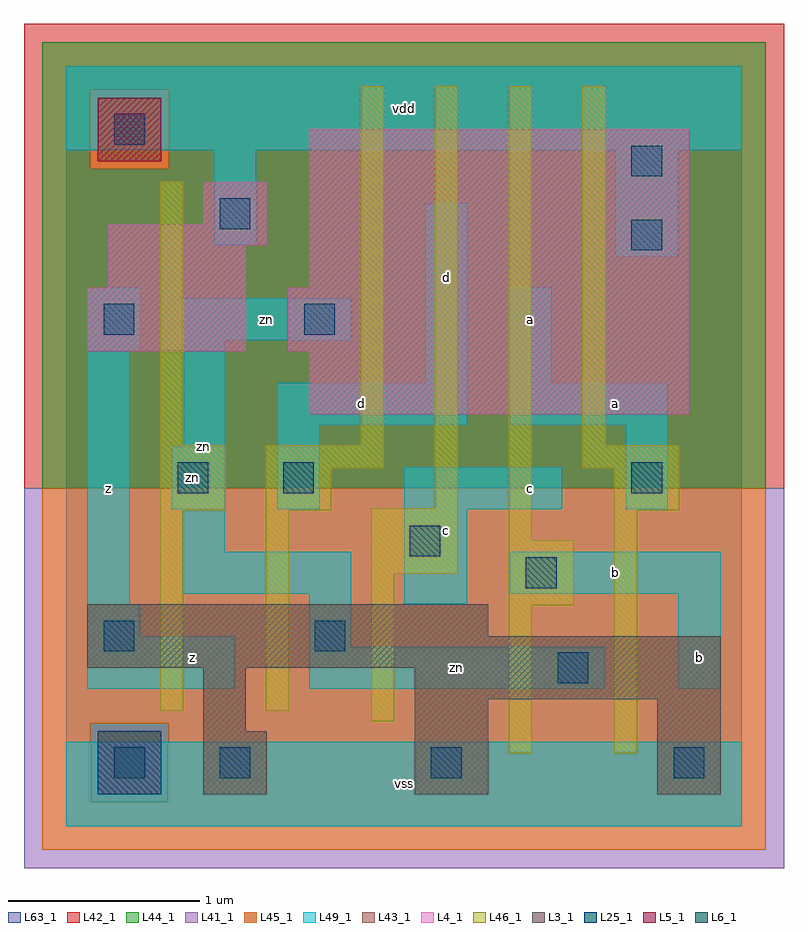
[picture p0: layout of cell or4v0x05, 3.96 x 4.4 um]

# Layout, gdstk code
import gdstk
lib = gdstk.Library(unit=1e-6, precision=1e-09)
def R(c, l, rs):  # rectangles x0, y0, x1, y1
    for r in rs: c.add(gdstk.rectangle(r[:2], r[2:], *l))
L3_1 = (3, 1)
L4_1 = (4, 1)
L5_1 = (5, 1)
L6_1 = (6, 1)
L25_1 = (25, 1)
L41_1 = (41, 1)
L42_1 = (42, 1)
L43_1 = (43, 1)
L44_1 = (44, 1)
L45_1 = (45, 1)
L46_1 = (46, 1)
L49_1 = (49, 1)
L63_1 = (63, 1)

or4v0x05 = lib.new_cell('or4v0x05')
R(or4v0x05, L3_1, [(0.715,0.165,1.045,0.495), (1.815,0.165,2.2,0.66), (3.08,0.165,3.41,0.66), (0.715,0.495,0.935,0.825), (1.815,0.66,3.41,0.825), (0.11,0.825,3.41,0.99), (0.11,0.99,2.2,1.155)])
R(or4v0x05, L4_1, [(1.265,2.145,3.245,2.475), (0.11,2.475,0.935,2.805), (1.155,2.475,3.245,2.805), (0.22,2.805,0.935,3.025), (1.265,2.805,3.245,3.63), (0.22,3.025,1.045,3.135), (0.715,3.135,1.045,3.355)])
R(or4v0x05, L5_1, [(0.165,3.465,0.495,3.795)])
R(or4v0x05, L6_1, [(0.165,0.165,0.495,0.495)])
R(or4v0x05, L25_1, [(0.25,0.25,0.41,0.41), (0.8,0.25,0.96,0.41), (1.9,0.25,2.06,0.41), (3.165,0.25,3.325,0.41), (2.56,0.745,2.72,0.905), (0.195,0.91,0.355,1.07), (1.295,0.91,1.455,1.07), (2.395,1.24,2.555,1.4), (1.79,1.405,1.95,1.565), (0.58,1.735,0.74,1.895), (1.13,1.735,1.29,1.895), (2.945,1.735,3.105,1.895), (0.195,2.56,0.355,2.72), (1.24,2.56,1.4,2.72), (2.945,3,3.105,3.16), (0.8,3.11,0.96,3.27), (2.945,3.385,3.105,3.545), (0.25,3.55,0.41,3.71)])
R(or4v0x05, L41_1, [(-0.22,-0.22,3.74,1.76)])
R(or4v0x05, L42_1, [(-0.22,1.76,3.74,4.18)])
R(or4v0x05, L43_1, [(0.165,0.165,0.495,0.495), (0.715,0.165,1.045,0.495), (1.815,0.165,2.2,0.66), (3.08,0.165,3.41,0.66), (0.715,0.495,0.935,0.825), (1.815,0.66,3.41,0.825), (0.11,0.825,3.41,0.99), (0.11,0.99,2.2,1.155), (1.265,2.145,3.245,2.475), (0.11,2.475,0.935,2.805), (1.155,2.475,3.245,2.805), (0.22,2.805,0.935,3.025), (1.265,2.805,3.245,3.63), (0.22,3.025,1.045,3.135), (0.715,3.135,1.045,3.355), (0.165,3.465,0.495,3.795)])
R(or4v0x05, L44_1, [(0.125,0.125,0.535,0.535), (-0.125,1.76,3.645,3.425), (-0.125,3.425,0.125,3.835), (0.535,3.425,3.645,3.835), (-0.125,3.835,3.645,4.085)])
R(or4v0x05, L45_1, [(-0.125,-0.125,3.645,0.125), (-0.125,0.125,0.125,0.535), (0.535,0.125,3.645,0.535), (-0.125,0.535,3.645,1.76), (0.125,3.425,0.535,3.835)])
R(or4v0x05, L46_1, [(2.305,0.38,2.425,1.15), (2.855,0.38,2.975,1.645), (1.59,0.545,1.71,1.315), (0.49,0.6,0.61,1.645), (1.04,0.6,1.16,1.645), (2.305,1.15,2.645,1.49), (1.59,1.315,2.04,1.655), (2.305,1.49,2.425,3.855), (0.49,1.645,0.83,1.985), (1.04,1.645,1.38,1.865), (2.855,1.645,3.195,1.865), (1.92,1.655,2.04,3.855), (1.04,1.865,1.655,1.985), (2.69,1.865,3.195,1.985), (0.49,1.985,0.61,3.36), (1.535,1.985,1.655,3.855), (2.69,1.985,2.81,3.855)])
R(or4v0x05, L49_1, [(0,0,3.52,0.44), (0.11,0.715,0.88,0.99), (1.265,0.715,2.805,0.935), (3.19,0.715,3.41,1.21), (1.265,0.935,1.485,1.21), (0.11,0.99,0.385,1.155), (0.11,1.155,0.33,2.475), (1.76,1.155,2.09,1.65), (0.605,1.21,1.485,1.43), (2.31,1.21,3.41,1.43), (0.605,1.43,0.825,1.65), (0.55,1.65,0.825,1.98), (1.1,1.65,1.32,2.09), (1.76,1.65,2.585,1.87), (2.915,1.65,3.135,2.09), (0.605,1.98,0.825,2.53), (1.1,2.09,2.09,2.31), (2.31,2.09,3.135,2.31), (1.87,2.31,2.09,3.245), (2.31,2.31,2.53,2.805), (0.11,2.475,0.385,2.805), (0.605,2.53,1.485,2.75), (2.86,2.97,3.19,3.52), (0.77,3.025,0.99,3.52), (0,3.52,3.52,3.96)])
R(or4v0x05, L63_1, [(0,0,3.52,3.96)])
or4v0x05.add(gdstk.Label('zn', (0.66,1.815), layer=49, texttype=1))
or4v0x05.add(gdstk.Label('z', (0.66,0.88), layer=49, texttype=1))
or4v0x05.add(gdstk.Label('z', (0.22,1.76), layer=49, texttype=1))
or4v0x05.add(gdstk.Label('d', (1.54,2.2), layer=49, texttype=1))
or4v0x05.add(gdstk.Label('zn', (0.715,1.98), layer=49, texttype=1))
or4v0x05.add(gdstk.Label('zn', (1.045,2.64), layer=49, texttype=1))
or4v0x05.add(gdstk.Label('vss', (1.76,0.22), layer=49, texttype=1))
or4v0x05.add(gdstk.Label('c', (1.98,1.54), layer=49, texttype=1))
or4v0x05.add(gdstk.Label('c', (2.42,1.76), layer=49, texttype=1))
or4v0x05.add(gdstk.Label('d', (1.98,2.86), layer=49, texttype=1))
or4v0x05.add(gdstk.Label('a', (2.42,2.64), layer=49, texttype=1))
or4v0x05.add(gdstk.Label('vdd', (1.76,3.74), layer=49, texttype=1))
or4v0x05.add(gdstk.Label('zn', (2.035,0.825), layer=49, texttype=1))
or4v0x05.add(gdstk.Label('b', (3.3,0.88), layer=49, texttype=1))
or4v0x05.add(gdstk.Label('b', (2.86,1.32), layer=49, texttype=1))
or4v0x05.add(gdstk.Label('a', (2.86,2.2), layer=49, texttype=1))

lib.write_gds('or4v0x05.gds')
